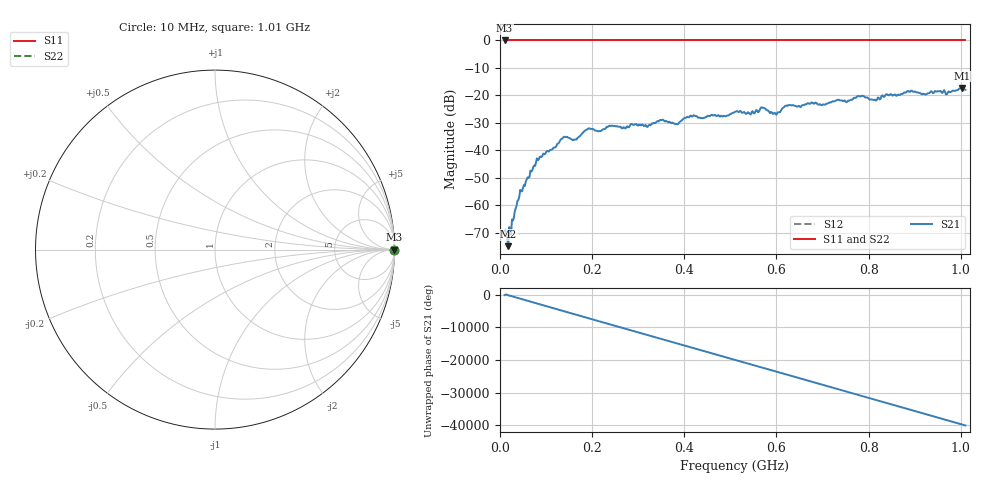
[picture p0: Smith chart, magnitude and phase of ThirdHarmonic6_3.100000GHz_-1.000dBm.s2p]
! 8/17/2025 9:08:40 AM
! C:\ANRITSUVNA\TEMP\TEMP.S2P
! CHANNEL.1
! TR.MEASUREMENT
! RAW.DATA
! RF.CORRECTION.OFF
! AVERAGING.OFF
! IF.BANDWIDTH: 5KHZ
! SWEEPTYPE:  FREQ.SWEEP(Linear)
! Reference Plane Port Info
! PORT:  PORT1  PORT2
! DISTANCE:  0  m  0  m
! TIME:  0  s  0  s
! PHASE.OFFSET:  0  deg.  0  deg.
! LOSS:  0  dB  0  dB
! REF.LOSS:  0  dB  0  dB
! REF.FREQ:  0  Hz  0  Hz
! Power Info
! POWER:  -20  dBm  -20  dBm
! EFF.POWER:  -20  dBm  -20  dBm
! SOURCE.ATTEN:  0  dB  0  dB
! TEST.ATTEN:  0  dB  0  dB
# GHZ S RI R 50.0
! FREQ.GHZ  S11RE  S11IM  S21RE  S21IM  S12RE  S12IM  S22RE  S22IM
!; PortSelection: Port_12
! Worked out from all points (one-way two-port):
!   501 points, 10 MHz to 1.01 GHz, reference 50 ohm
!   highest |S21| = -17.33 dB at 1.002 GHz (marker M1); lowest = -74.9 dB at 18 MHz (marker M2)
!   lowest |S11| = 0.0 dB at 10 MHz (marker M3)
!   |S11| at or under -10 dB: nowhere
!   |S22| runs from 0.0 to 0.0 dB; largest |S21 - S12| = 1.1
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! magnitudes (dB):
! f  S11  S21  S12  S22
! 10 MHz  0.0  -69.2  0.0  0.0
! 18 MHz  0.0  -74.9  0.0  0.0
! 42 MHz  0.0  -56.7  0.0  0.0
! 82 MHz  0.0  -43.6  0.0  0.0
! 136 MHz  0.0  -35.6  0.0  0.0
! 162 MHz  0.0  -36.1  0.0  0.0
! 178 MHz  0.0  -33.9  0.0  0.0
! 192 MHz  0.0  -32.0  0.0  0.0
! 322 MHz  0.0  -31.0  0.0  0.0
! 344 MHz  0.0  -29.5  0.0  0.0
! 382 MHz  0.0  -30.3  0.0  0.0
! 416 MHz  0.0  -27.7  0.0  0.0
! 510 MHz  0.0  -26.0  0.0  0.0
! 570 MHz  0.0  -24.4  0.0  0.0
! 596 MHz  0.0  -26.3  0.0  0.0
! 622 MHz  0.0  -23.7  0.0  0.0
! 678 MHz  0.0  -22.6  0.0  0.0
! 782 MHz  0.0  -20.4  0.0  0.0
! 814 MHz  0.0  -21.6  0.0  0.0
! 844 MHz  0.0  -20.0  0.0  0.0
! 1.002 GHz  0.0  -17.3  0.0  0.0
! 1.01 GHz  0.0  -17.9  0.0  0.0
